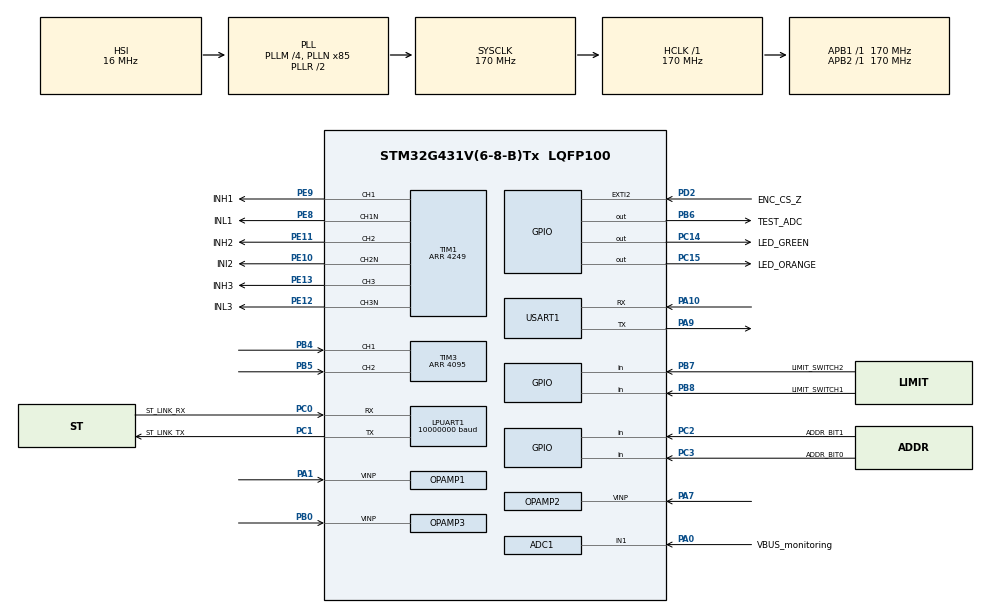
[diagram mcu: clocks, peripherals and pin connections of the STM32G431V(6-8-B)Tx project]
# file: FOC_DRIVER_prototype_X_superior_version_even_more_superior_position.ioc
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ADC1.EnableInjectedConversion=ENABLE
ADC1.EnableRegularConversion=DISABLE
ADC1.ExternalTrigInjecConv=ADC_EXTERNALTRIGINJEC_T1_TRGO
ADC1.ExternalTrigInjecConvEdge=ADC_EXTERNALTRIGINJECCONV_EDGE_FALLING
ADC1.InjNumberOfConversion=2
ADC1.InjectedChannel-6\#ChannelInjectedConversion=ADC_CHANNEL_1
ADC1.InjectedChannel-7\#ChannelInjectedConversion=ADC_CHANNEL_VOPAMP1
ADC1.InjectedOffsetNumber-6\#ChannelInjectedConversion=ADC_OFFSET_NONE
ADC1.InjectedOffsetNumber-7\#ChannelInjectedConversion=ADC_OFFSET_NONE
ADC1.InjectedRank-6\#ChannelInjectedConversion=1
ADC1.InjectedRank-7\#ChannelInjectedConversion=2
ADC1.InjectedSamplingTime-6\#ChannelInjectedConversion=ADC_SAMPLETIME_247CYCLES_5
ADC1.InjectedSamplingTime-7\#ChannelInjectedConversion=ADC_SAMPLETIME_6CYCLES_5
ADC1.Overrun=ADC_OVR_DATA_PRESERVED
ADC1.master=1
ADC2.EnableInjectedConversion=ENABLE
ADC2.EnableRegularConversion=DISABLE
ADC2.ExternalTrigInjecConv=ADC_EXTERNALTRIGINJEC_T1_TRGO
ADC2.ExternalTrigInjecConvEdge=ADC_EXTERNALTRIGINJECCONV_EDGE_FALLING
ADC2.InjNumberOfConversion=2
ADC2.InjectedChannel-10\#ChannelInjectedConversion=ADC_CHANNEL_VOPAMP3_ADC2
ADC2.InjectedChannel-9\#ChannelInjectedConversion=ADC_CHANNEL_VOPAMP2
ADC2.InjectedOffsetNumber-10\#ChannelInjectedConversion=ADC_OFFSET_NONE
ADC2.InjectedOffsetNumber-9\#ChannelInjectedConversion=ADC_OFFSET_NONE
ADC2.InjectedRank-10\#ChannelInjectedConversion=2
ADC2.InjectedRank-9\#ChannelInjectedConversion=1
ADC2.InjectedSamplingTime-10\#ChannelInjectedConversion=ADC_SAMPLETIME_6CYCLES_5
ADC2.InjectedSamplingTime-9\#ChannelInjectedConversion=ADC_SAMPLETIME_6CYCLES_5
ADC2.Rank1_Channel=ADC_CHANNEL_VOPAMP2
ADC2.Rank2_Channel=ADC_CHANNEL_VOPAMP3_ADC2
LPUART1.BaudRate=10000000
LPUART1.SwapParam=UART_ADVFEATURE_SWAP_ENABLE
Mcu.Family=STM32G4
Mcu.Name=STM32G431V(6-8-B)Tx
Mcu.Package=LQFP100
NVIC.ADC1_2_IRQn=true\:0\:0\:false\:false\:true\:true\:true\:true
NVIC.EXTI2_IRQn=true\:0\:0\:false\:false\:true\:true\:true\:true
NVIC.LPUART1_IRQn=true\:0\:0\:false\:false\:true\:true\:true\:true
NVIC.PriorityGroup=NVIC_PRIORITYGROUP_4
NVIC.TIM1_UP_TIM16_IRQn=true\:0\:0\:false\:false\:true\:true\:true\:true
NVIC.TIM2_IRQn=true\:0\:0\:false\:false\:true\:true\:true\:true
NVIC.TIM3_IRQn=true\:0\:0\:false\:false\:true\:true\:true\:true
OPAMP1.PgaGain=OPAMP_PGA_GAIN_8_OR_MINUS_7
OPAMP2.PgaGain=OPAMP_PGA_GAIN_8_OR_MINUS_7
OPAMP3.PgaGain=OPAMP_PGA_GAIN_8_OR_MINUS_7
PA0.GPIO_Label=VBUS_monitoring
PA0.Mode=IN1-Single-Ended
PA0.Signal=ADC1_IN1
PA1.Mode=PGA_Internally_Connected
PA1.Signal=OPAMP1_VINP
PA10.Mode=Asynchronous
PA10.Signal=USART1_RX
PA2.Signal=OPAMP1_VOUT
PA6.Signal=SharedAnalog_PA6
PA7.Mode=PGA_Internally_Connected
PA7.Signal=OPAMP2_VINP
PA9.Mode=Asynchronous
PA9.Signal=USART1_TX
PB0.Mode=PGA_Internally_Connected
PB0.Signal=OPAMP3_VINP
PB1.Signal=SharedAnalog_PB1
PB4.Signal=S_TIM3_CH1
PB5.Signal=S_TIM3_CH2
PB6.GPIO_FM6=SYSCFG_FASTMODEPLUS_PB6
PB6.GPIO_Label=TEST_ADC
PB6.Signal=GPIO_Output
PB7.GPIO_Label=LIMIT_SWITCH2
PB7.Signal=GPIO_Input
PB8-BOOT0.GPIO_Label=LIMIT_SWITCH1
PB8-BOOT0.Signal=GPIO_Input
PC0.GPIO_Label=ST_LINK_RX
PC0.Mode=Asynchronous
PC0.Signal=LPUART1_RX
PC1.GPIO_Label=ST_LINK_TX
PC1.Mode=Asynchronous
PC1.Signal=LPUART1_TX
PC14-OSC32_IN.GPIO_Label=LED_GREEN
PC14-OSC32_IN.Signal=GPIO_Output
PC15-OSC32_OUT.GPIO_Label=LED_ORANGE
PC15-OSC32_OUT.Signal=GPIO_Output
PC2.GPIO_Label=ADDR_BIT1
PC2.Signal=GPIO_Input
PC3.GPIO_Label=ADDR_BIT0
PC3.Signal=GPIO_Input
PD2.GPIO_Label=ENC_CS_Z
PD2.Signal=GPXTI2
PE10.GPIO_Label=INl2
PE10.Mode=PWM Generation2 CH2 CH2N
PE10.Signal=TIM1_CH2N
PE11.GPIO_Label=INH2
PE11.Signal=S_TIM1_CH2
PE12.GPIO_Label=INL3
PE12.Mode=PWM Generation3 CH3 CH3N
PE12.Signal=TIM1_CH3N
PE13.GPIO_Label=INH3
PE13.Signal=S_TIM1_CH3
PE8.GPIO_Label=INL1
PE8.Mode=PWM Generation1 CH1 CH1N
PE8.Signal=TIM1_CH1N
PE9.GPIO_Label=INH1
PE9.Signal=S_TIM1_CH1
ProjectManager.HeapSize=0x200
ProjectManager.StackSize=0x400
ProjectManager.TargetToolchain=STM32CubeIDE
RCC.ADC12Freq_Value=170000000
RCC.AHBFreq_Value=170000000
RCC.APB1Freq_Value=170000000
RCC.APB1TimFreq_Value=170000000
RCC.APB2Freq_Value=170000000
RCC.APB2TimFreq_Value=170000000
RCC.CortexFreq_Value=170000000
RCC.EXTERNAL_CLOCK_VALUE=12288000
RCC.HCLKFreq_Value=170000000
RCC.HSE_VALUE=8000000
RCC.HSI48_VALUE=48000000
RCC.HSI_VALUE=16000000
RCC.LSE_VALUE=32768
RCC.PLLM=RCC_PLLM_DIV4
RCC.PLLN=85
RCC.SYSCLKFreq_VALUE=170000000
RCC.SYSCLKSource=RCC_SYSCLKSOURCE_PLLCLK
RCC.USBFreq_Value=170000000
RCC.VCOOutputFreq_Value=340000000
SH.S_TIM1_CH1.0=TIM1_CH1,PWM Generation1 CH1 CH1N
SH.S_TIM1_CH2.0=TIM1_CH2,PWM Generation2 CH2 CH2N
SH.S_TIM1_CH3.0=TIM1_CH3,PWM Generation3 CH3 CH3N
SH.S_TIM3_CH1.0=TIM3_CH1,Encoder_Interface
SH.S_TIM3_CH2.0=TIM3_CH2,Encoder_Interface
SH.SharedAnalog_PA6.0=ADC2_IN3
SH.SharedAnalog_PA6.1=OPAMP2_VOUT
SH.SharedAnalog_PB1.0=ADC1_IN12
SH.SharedAnalog_PB1.1=OPAMP3_VOUT
STMicroelectronics.X-CUBE-ALGOBUILD.1.4.0.LibraryCcDSPOoLibraryJjDSPOoLibrary=true
TIM1.AutoReloadPreload=TIM_AUTORELOAD_PRELOAD_ENABLE
TIM1.Channel-Output\ Compare4\ No\ Output=TIM_CHANNEL_4
TIM1.Channel-PWM\ Generation1\ CH1\ CH1N=TIM_CHANNEL_1
TIM1.Channel-PWM\ Generation2\ CH2\ CH2N=TIM_CHANNEL_2
TIM1.Channel-PWM\ Generation3\ CH3\ CH3N=TIM_CHANNEL_3
TIM1.CounterMode=TIM_COUNTERMODE_CENTERALIGNED1
TIM1.DeadTime=7
TIM1.OC4Preload=ENABLE
TIM1.OCMode_4=TIM_OCMODE_TOGGLE
TIM1.PeriodNoDither=4249
TIM1.PulseNoDither_4=4240
TIM1.RepetitionCounter=0
TIM1.TIM_MasterOutputTrigger=TIM_TRGO_OC4REF
TIM1.TIM_MasterOutputTrigger2=TIM_TRGO2_RESET
TIM2.PeriodNoDither=1999
TIM2.Prescaler=169
TIM3.EncoderMode=TIM_ENCODERMODE_TI12
TIM3.IC1Filter=1
TIM3.IC1Polarity=TIM_ICPOLARITY_RISING
TIM3.IC2Filter=1
TIM3.IC2Polarity=TIM_ICPOLARITY_FALLING
TIM3.PeriodNoDither=4095
USART1.VirtualMode-Asynchronous=VM_ASYNC
VP_ADC1_OPAMP_INTERNAL1.Mode=IN-OPAMP1
VP_ADC2_OPAMP_INTERNAL2.Mode=IN-OPAMP2
VP_ADC2_OPAMP_INTERNAL3.Mode=IN-OPAMP3
VP_STMicroelectronics.X-CUBE-ALGOBUILD_VS_DSPOoLibraryJjLibrary_1.4.0_1.4.0.Mode=DSPOoLibraryJjLibrary
VP_SYS_VS_DBSignals.Mode=DisableDeadBatterySignals
VP_TIM1_VS_ClockSourceINT.Mode=Internal
VP_TIM1_VS_no_output4.Mode=Output Compare4 No Output
VP_TIM2_VS_ClockSourceINT.Mode=Internal
board=custom

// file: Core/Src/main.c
/* USER CODE BEGIN Header */
#define TEST_FOC_OPEN_LOOP 1
/**
  ******************************************************************************
  * @file           : main.c
  * @brief          : Main program body
  ******************************************************************************
  * @attention
  *
  * Copyright (c) 2026 STMicroelectronics.
  * All rights reserved.
  *
  * This software is licensed under terms that can be found in the LICENSE file
  * in the root directory of this software component.
  * If no LICENSE file comes with this software, it is provided AS-IS.
  *
  ******************************************************************************
  */
/* USER CODE END Header */
#include "main.h"
#include "adc.h"
#include "usart.h"
#include "opamp.h"
#include "tim.h"
#include "gpio.h"

/* USER CODE BEGIN Includes */
#include <FOC/foc_utils.h>
#include <application/app_utils.h>
#include <application/comm_handler.h>
/* USER CODE END Includes */

/* USER CODE BEGIN PTD */
__IO float32_t vopamp1 = 0.0f;
__IO float32_t vopamp2 = 0.0f;
__IO float32_t vopamp3 = 0.0f;

__IO float32_t precise_vbus = 0.0f;

__IO float32_t ID_input = 0.0f;
__IO float32_t IQ_input = 0.0f;

__IO float32_t ID_feedback = 0.0f;
__IO float32_t IQ_feedback = 0.0f;

__IO float32_t CNT_val = 0;
__IO float32_t elec_angle = 0.0f;
__IO float32_t meca_angle = 0.0f;

__IO float32_t voltage_Ud = 0.0f;
__IO float32_t voltage_Uq = 0.0f;

__IO float32_t rpm_val = 0.0f;

__IO float32_t val_in_500Hz_a = 0.0f;
__IO float32_t val_in_500Hz_b = 0.0f;

__IO float32_t val_in_10kHz_a = 0.0f;
__IO float32_t val_in_10kHz_b = 0.0f;

/* USER CODE END PTD */

/* USER CODE BEGIN PM */
FSM_HandleTypeDef application_control;
FOC_HandleTypeDef foc_control_system;
COM_HandleTypeDef communication_system;
/* USER CODE END PM */

/* USER CODE BEGIN PV */
ENC_HandleTypeDef encoder;
MOT_HandleTypeDef motor;
ANG_HandleTypeDef analog;
Diagram_signal_t  inner_signal;
PID_Control_t     pid_control_system;

/* USER CODE END PV */

void SystemClock_Config(void);

int main(void)
{

  /* MCU Configuration--------------------------------------------------------*/

  /* Reset of all peripherals, Initializes the Flash interface and the Systick. */
  HAL_Init();

  /* Configure the system clock */
  SystemClock_Config();

  /* Initialize all configured peripherals */
  MX_GPIO_Init();
  MX_ADC1_Init();
  MX_USART1_UART_Init();
  MX_LPUART1_UART_Init();
  MX_TIM1_Init();
  MX_TIM3_Init();
  MX_OPAMP1_Init();
  MX_OPAMP2_Init();
  MX_OPAMP3_Init();
  MX_TIM2_Init();
  MX_ADC2_Init();
  /* USER CODE BEGIN 2 */
  foc_init(&foc_control_system, &htim1, &htim3, &hadc1, &hadc2);
  comm_init(&communication_system, &hlpuart1);
  application_init(&application_control, &foc_control_system, &communication_system);

  foc_control_system.encoder = &encoder;
  foc_control_system.motor   = &motor;
  foc_control_system.analog  = &analog;
  foc_control_system.inner_signal = &inner_signal;

  HAL_OPAMP_Start(&hopamp1);
  HAL_OPAMP_Start(&hopamp2);
  HAL_OPAMP_Start(&hopamp3);

  application_setup(&application_control);

  HAL_NVIC_SetPriority(TIM1_UP_TIM16_IRQn, 0, 0);  // 20kHz
  HAL_NVIC_SetPriority(TIM2_IRQn,          1, 0);  // 500Hz

  HAL_TIM_Base_Start_IT(&htim2);

  HAL_Delay(500);
//  encoder_counter_init();
  /* USER CODE END 2 */

  /* Infinite loop */
  while (1)
  {

  }
}

void SystemClock_Config(void)
{
  RCC_OscInitTypeDef RCC_OscInitStruct = {0};
  RCC_ClkInitTypeDef RCC_ClkInitStruct = {0};

  /** Configure the main internal regulator output voltage
  */
  HAL_PWREx_ControlVoltageScaling(PWR_REGULATOR_VOLTAGE_SCALE1_BOOST);

  /** Initializes the RCC Oscillators according to the specified parameters
  * in the RCC_OscInitTypeDef structure.
  */
  RCC_OscInitStruct.OscillatorType = RCC_OSCILLATORTYPE_HSI;
  RCC_OscInitStruct.HSIState = RCC_HSI_ON;
  RCC_OscInitStruct.HSICalibrationValue = RCC_HSICALIBRATION_DEFAULT;
  RCC_OscInitStruct.PLL.PLLState = RCC_PLL_ON;
  RCC_OscInitStruct.PLL.PLLSource = RCC_PLLSOURCE_HSI;
  RCC_OscInitStruct.PLL.PLLM = RCC_PLLM_DIV4;
  RCC_OscInitStruct.PLL.PLLN = 85;
  RCC_OscInitStruct.PLL.PLLP = RCC_PLLP_DIV2;
  RCC_OscInitStruct.PLL.PLLQ = RCC_PLLQ_DIV2;
  RCC_OscInitStruct.PLL.PLLR = RCC_PLLR_DIV2;
  if (HAL_RCC_OscConfig(&RCC_OscInitStruct) != HAL_OK)
  {
    Error_Handler();
  }

  /** Initializes the CPU, AHB and APB buses clocks
  */
  RCC_ClkInitStruct.ClockType = RCC_CLOCKTYPE_HCLK|RCC_CLOCKTYPE_SYSCLK
                              |RCC_CLOCKTYPE_PCLK1|RCC_CLOCKTYPE_PCLK2;
  RCC_ClkInitStruct.SYSCLKSource = RCC_SYSCLKSOURCE_PLLCLK;
  RCC_ClkInitStruct.AHBCLKDivider = RCC_SYSCLK_DIV1;
  RCC_ClkInitStruct.APB1CLKDivider = RCC_HCLK_DIV1;
  RCC_ClkInitStruct.APB2CLKDivider = RCC_HCLK_DIV1;

  if (HAL_RCC_ClockConfig(&RCC_ClkInitStruct, FLASH_LATENCY_4) != HAL_OK)
  {
    Error_Handler();
  }
}

/* USER CODE BEGIN 4 */
void HAL_GPIO_EXTI_Callback(uint16_t GPIO_Pin)
{
    if (GPIO_Pin == ENC_CS_Z_Pin)
    {
    	update_encoder_interrupt(foc_control_system.encoder, foc_control_system.timer2);
    }
}

//void HAL_UART_TxCpltCallback(UART_HandleTypeDef *huart) {
//    if (huart->Instance == LPUART1) {
//        tx_busy = 0;
//    }
//}

void HAL_TIM_PeriodElapsedCallback(TIM_HandleTypeDef *htim)
{
#if TEST_FOC_OPEN_LOOP
	if (htim->Instance == TIM2) {
		exec_open_loop_500Hz(&application_control);
		val_in_500Hz_a = foc_control_system.inner_signal->Ualpha;
		val_in_500Hz_b = foc_control_system.inner_signal->Ubeta;

//		rpm_val = foc_control_system.encoder->rpm_measured;

	}
	if(htim->Instance == TIM1){
		exec_loop_10kHz(&application_control);
		val_in_10kHz_a = foc_control_system.Id_averaged;
		val_in_10kHz_b = foc_control_system.Iq_averaged;
		//		HAL_GPIO_TogglePin(TEST_ADC_GPIO_Port, TEST_ADC_Pin);
	}
#endif
}

void HAL_ADCEx_InjectedConvCpltCallback(ADC_HandleTypeDef* hadc) {

	if(hadc->Instance == ADC1){
		precise_vbus = HAL_ADCEx_InjectedGetValue(hadc, ADC_INJECTED_RANK_1);

		vopamp1 = HAL_ADCEx_InjectedGetValue(hadc, ADC_INJECTED_RANK_2);
		foc_control_system.analog->Ic = (float32_t)vopamp1 * 0.0148f - 23.202f;

//		HAL_GPIO_TogglePin(TEST_ADC_GPIO_Port, TEST_ADC_Pin);
	}
	if(hadc->Instance == ADC2){
		vopamp2 = HAL_ADCEx_InjectedGetValue(hadc, ADC_INJECTED_RANK_1);
		vopamp3 = HAL_ADCEx_InjectedGetValue(hadc, ADC_INJECTED_RANK_2);
		foc_control_system.analog->Ib = (float32_t)vopamp2 * 0.0148f - 23.202f;
		foc_control_system.analog->Ia = (float32_t)vopamp3 * 0.0148f - 23.202f;
	}
}

/* USER CODE END 4 */

void Error_Handler(void)
{
  __disable_irq();
  while (1)
  {
  }
}
